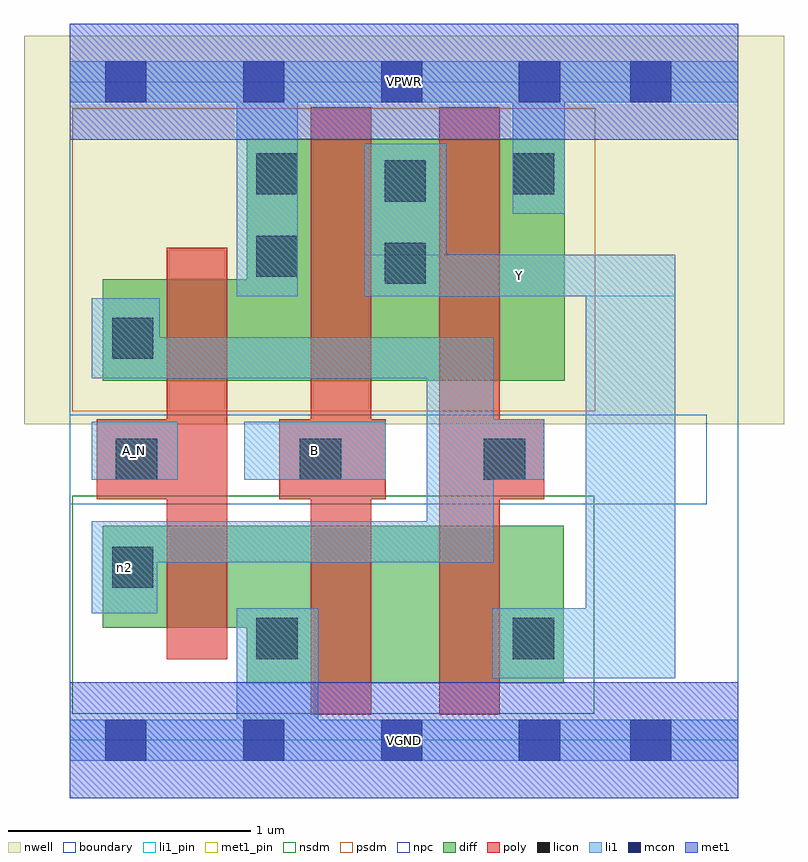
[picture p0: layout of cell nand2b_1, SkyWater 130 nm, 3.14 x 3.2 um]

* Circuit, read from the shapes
.subckt nand2b_1 A_N B VGND VPWR Y n2
XM1 VGND A_N n2 VSUBS sky130_fd_pr__nfet_01v8 w=0.42 l=0.25
XM2 n1 B VGND VSUBS sky130_fd_pr__nfet_01v8 w=0.65 l=0.25
XM3 Y n2 n1 VSUBS sky130_fd_pr__nfet_01v8 w=0.65 l=0.25
XM4 VPWR A_N n2 n3 sky130_fd_pr__pfet_01v8 w=0.42 l=0.25
XM5 Y B VPWR n3 sky130_fd_pr__pfet_01v8 w=1 l=0.25
XM6 VPWR n2 Y n3 sky130_fd_pr__pfet_01v8 w=1 l=0.25
.ends

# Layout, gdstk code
import gdstk
lib = gdstk.Library(unit=1e-6, precision=1e-09)
def R(c, l, rs):  # rectangles x0, y0, x1, y1
    for r in rs: c.add(gdstk.rectangle(r[:2], r[2:], *l))
def A(c, l, x, y, w, h, nx, ny, dx, dy):  # array of equal rectangles
    R(c, l, [(x+i*dx, y+j*dy, x+i*dx+w, y+j*dy+h) for i in range(nx) for j in range(ny)])
nwell = (64, 20)
diff = (65, 20)
poly = (66, 20)
licon = (66, 44)
li1_pin = (67, 16)
li1 = (67, 20)
mcon = (67, 44)
met1_pin = (68, 16)
met1 = (68, 20)
nsdm = (93, 44)
psdm = (94, 20)
npc = (95, 20)
boundary = (235, 4)

nand2b_1 = lib.new_cell('nand2b_1')
R(nand2b_1, nwell, [(-0.19,1.305,2.95,2.91), (0,1.305,2.76,2.91)])
R(nand2b_1, diff, [(0.73,0.235,2.04,0.885), (0.135,0.465,2.04,0.885), (0.135,1.485,2.045,1.905), (0.73,1.485,2.045,2.485)])
R(nand2b_1, poly, [(0.995,0.105,1.245,2.615), (1.525,0.105,1.775,2.615), (0.4,0.335,0.65,2.035), (0.11,0.995,0.65,1.325), (0.865,0.995,1.305,1.325), (1.525,0.995,1.96,1.325)])
A(nand2b_1, licon, 0.19, 1.075, 0.17, 0.17, 3, 1, 0.76, 0)
R(nand2b_1, licon, [(0.77,0.335,0.94,0.505), (1.83,0.335,2,0.505), (0.175,0.63,0.345,0.8), (0.175,1.575,0.345,1.745), (1.3,1.885,1.47,2.055), (0.77,1.915,0.94,2.085), (1.3,2.225,1.47,2.395), (0.77,2.255,0.94,2.425), (1.83,2.255,2,2.425)])
R(nand2b_1, li1_pin, [(0.09,1.075,0.445,1.315), (0.72,1.075,1.305,1.315), (1.215,1.835,2.5,2.005)])
R(nand2b_1, li1, [(0,-0.085,2.76,0.085), (0.69,-0.085,1.025,0.545), (1.745,0.255,2.5,0.545), (2.13,0.255,2.5,2.005), (0.09,0.525,0.36,0.905), (0.09,0.735,1.75,0.905), (1.475,0.735,1.75,1.665), (0.09,1.075,0.445,1.315), (0.72,1.075,1.305,1.315), (1.475,1.075,1.96,1.325), (0.09,1.495,1.75,1.665), (0.09,1.495,0.37,1.825), (0.69,1.835,0.94,2.805), (1.215,1.835,1.555,2.465), (1.215,1.835,2.5,2.005), (1.83,2.175,2.045,2.805), (0,2.635,2.76,2.805)])
A(nand2b_1, mcon, 0.145, -0.085, 0.17, 0.17, 4, 2, 0.57, 2.72)
R(nand2b_1, mcon, [(2.315,-0.085,2.485,0.085), (2.315,2.635,2.485,2.805)])
R(nand2b_1, met1_pin, [(0,-0.24,2.76,0.24), (0,2.48,2.76,2.96)])
R(nand2b_1, met1, [(0,-0.24,2.76,0.24), (0,2.48,2.76,2.96)])
R(nand2b_1, nsdm, [(0.01,0.11,2.165,1.01)])
R(nand2b_1, psdm, [(0.01,1.36,2.17,2.61)])
R(nand2b_1, npc, [(0,0.975,2.63,1.345)])
R(nand2b_1, boundary, [(0,0,2.76,2.72)])
nand2b_1.add(gdstk.Label('A_N', (0.267,1.195), layer=67, texttype=5))
nand2b_1.add(gdstk.Label('B', (1.012,1.195), layer=67, texttype=5))
nand2b_1.add(gdstk.Label('Y', (1.857,1.92), layer=67, texttype=5))
nand2b_1.add(gdstk.Label('n2', (0.225,0.715), layer=67, texttype=5))
nand2b_1.add(gdstk.Label('VPWR', (1.38,2.72), layer=68, texttype=5))
nand2b_1.add(gdstk.Label('VGND', (1.38,0), layer=68, texttype=5))
nand2b_1.add(gdstk.Label('A_N', (0.267,1.195), layer=67, texttype=16))
nand2b_1.add(gdstk.Label('B', (1.012,1.195), layer=67, texttype=16))
nand2b_1.add(gdstk.Label('Y', (1.857,1.92), layer=67, texttype=16))
nand2b_1.add(gdstk.Label('VPWR', (1.38,2.72), layer=68, texttype=16))
nand2b_1.add(gdstk.Label('VGND', (1.38,0), layer=68, texttype=16))

lib.write_gds('nand2b_1.gds')
